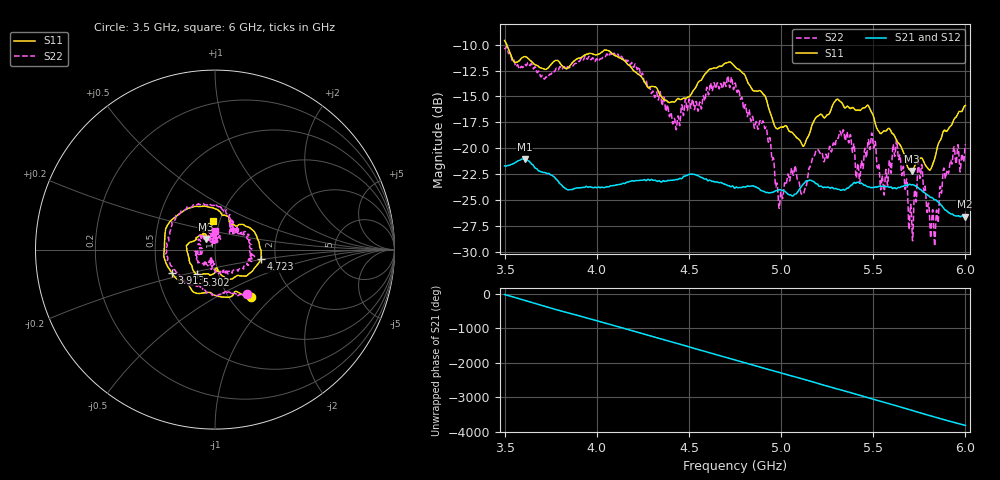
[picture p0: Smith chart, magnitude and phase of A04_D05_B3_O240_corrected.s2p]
! Created with skrf 1.9.0 (http://scikit-rf.org).
# Hz S RI R 50.0
!freq ReS11 ImS11 ReS21 ImS21 ReS12 ImS12 ReS22 ImS22
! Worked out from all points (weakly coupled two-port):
!   1601 points, 3.5 GHz to 6 GHz, reference 50 ohm
!   highest |S21| = -21.04 dB at 3.609 GHz (marker M1); lowest = -26.6 dB at 5.995 GHz (marker M2)
!   lowest |S11| = -22.2 dB at 5.709 GHz (marker M3), VSWR 1.17, Z = 44.9 + j5.34 ohm
!   |S11| at or under -10 dB: 3.511 GHz to end of sweep
!   |S22| runs from -29.5 to -10.2 dB; largest |S21 - S12| = 0.001
!   S11 on the Smith chart (normalised r, x): 3.5 GHz: 1.27, -0.74; 3.913 GHz: 0.59, -0.16; 4.723 GHz: 1.67, -0.19; 5.302 GHz: 0.79, -0.22; 6 GHz: 0.93, +0.31
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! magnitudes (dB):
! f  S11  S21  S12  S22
! 3.5 GHz  -9.6  -21.7  -21.7  -10.3
! 3.609 GHz  -11.2  -21.0  -21.1  -11.9
! 3.913 GHz  -11.3  -23.8  -23.8  -11.4
! 3.917 GHz  -11.2  -23.8  -23.8  -11.3
! 4.334 GHz  -14.5  -23.2  -23.1  -15.3
! 4.423 GHz  -15.5  -23.1  -23.1  -17.2
! 4.723 GHz  -11.7  -23.7  -23.7  -14.1
! 4.75 GHz  -12.1  -23.9  -23.8  -13.7
! 4.911 GHz  -14.9  -24.2  -24.2  -18.1
! 4.997 GHz  -18.0  -24.0  -24.0  -24.5
! 5.167 GHz  -17.8  -23.2  -23.1  -21.2
! 5.302 GHz  -15.3  -23.9  -23.9  -19.1
! 5.417 GHz  -16.3  -23.3  -23.3  -21.5
! 5.5 GHz  -16.9  -23.8  -23.8  -19.8
! 5.584 GHz  -18.1  -23.8  -23.8  -21.8
! 5.634 GHz  -19.5  -23.8  -23.8  -20.8
! 5.709 GHz  -22.2  -23.5  -23.5  -27.3
! 5.753 GHz  -21.0  -24.0  -23.9  -22.9
! 5.823 GHz  -21.5  -24.8  -24.8  -25.9
! 5.889 GHz  -18.3  -26.0  -25.9  -22.8
! 5.995 GHz  -15.9  -26.6  -26.6  -20.5
! 6 GHz  -15.9  -26.6  -26.6  -19.6
